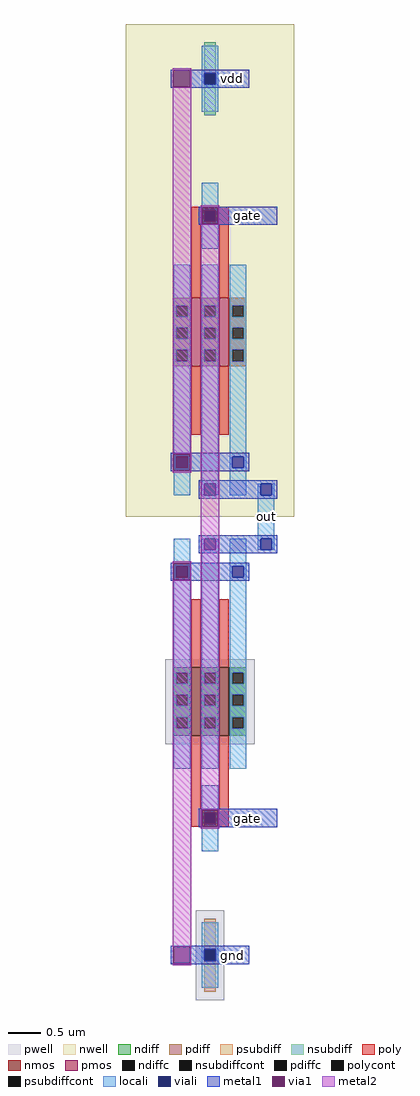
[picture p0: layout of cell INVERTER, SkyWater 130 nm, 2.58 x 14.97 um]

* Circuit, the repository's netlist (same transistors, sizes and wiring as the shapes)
* NGSPICE file created from INVERTER.ext - technology: sky130A

.subckt INVERTER vdd gate vout vss
X0 vout gate vdd vdd sky130_fd_pr__pfet_01v8 ad=2.94e+11p pd=2.66e+06u as=5.565e+11p ps=5.26e+06u w=1.05e+06u l=150000u
X1 vdd gate vout vdd sky130_fd_pr__pfet_01v8 ad=0p pd=0u as=0p ps=0u w=1.05e+06u l=150000u
X2 vout gate vss vss sky130_fd_pr__nfet_01v8 ad=2.94e+11p pd=2.66e+06u as=5.565e+11p ps=5.26e+06u w=1.05e+06u l=150000u
X3 vss gate vout vss sky130_fd_pr__nfet_01v8 ad=0p pd=0u as=0p ps=0u w=1.05e+06u l=150000u
.ends

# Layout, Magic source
magic
tech sky130A
magscale 1 2
<< nwell >>
rect 0 1512 516 3024
<< pwell >>
rect 121 814 395 1076
rect 215 30 301 306
<< nmos >>
rect 200 840 230 1050
rect 286 840 316 1050
<< pmos >>
rect 200 1974 230 2184
rect 286 1974 316 2184
<< ndiff >>
rect 147 1034 200 1050
rect 147 1000 155 1034
rect 189 1000 200 1034
rect 147 966 200 1000
rect 147 932 155 966
rect 189 932 200 966
rect 147 898 200 932
rect 147 864 155 898
rect 189 864 200 898
rect 147 840 200 864
rect 230 1034 286 1050
rect 230 1000 241 1034
rect 275 1000 286 1034
rect 230 966 286 1000
rect 230 932 241 966
rect 275 932 286 966
rect 230 898 286 932
rect 230 864 241 898
rect 275 864 286 898
rect 230 840 286 864
rect 316 1034 369 1050
rect 316 1000 327 1034
rect 361 1000 369 1034
rect 316 966 369 1000
rect 316 932 327 966
rect 361 932 369 966
rect 316 898 369 932
rect 316 864 327 898
rect 361 864 369 898
rect 316 840 369 864
<< pdiff >>
rect 147 2160 200 2184
rect 147 2126 155 2160
rect 189 2126 200 2160
rect 147 2092 200 2126
rect 147 2058 155 2092
rect 189 2058 200 2092
rect 147 2024 200 2058
rect 147 1990 155 2024
rect 189 1990 200 2024
rect 147 1974 200 1990
rect 230 2160 286 2184
rect 230 2126 241 2160
rect 275 2126 286 2160
rect 230 2092 286 2126
rect 230 2058 241 2092
rect 275 2058 286 2092
rect 230 2024 286 2058
rect 230 1990 241 2024
rect 275 1990 286 2024
rect 230 1974 286 1990
rect 316 2160 369 2184
rect 316 2126 327 2160
rect 361 2126 369 2160
rect 316 2092 369 2126
rect 316 2058 327 2092
rect 361 2058 369 2092
rect 316 2024 369 2058
rect 316 1990 327 2024
rect 361 1990 369 2024
rect 316 1974 369 1990
<< ndiffc >>
rect 155 1000 189 1034
rect 155 932 189 966
rect 155 864 189 898
rect 241 1000 275 1034
rect 241 932 275 966
rect 241 864 275 898
rect 327 1000 361 1034
rect 327 932 361 966
rect 327 864 361 898
<< pdiffc >>
rect 155 2126 189 2160
rect 155 2058 189 2092
rect 155 1990 189 2024
rect 241 2126 275 2160
rect 241 2058 275 2092
rect 241 1990 275 2024
rect 327 2126 361 2160
rect 327 2058 361 2092
rect 327 1990 361 2024
<< psubdiff >>
rect 241 185 275 280
rect 241 56 275 151
<< nsubdiff >>
rect 241 2873 275 2968
rect 241 2744 275 2839
<< psubdiffcont >>
rect 241 151 275 185
<< nsubdiffcont >>
rect 241 2839 275 2873
<< poly >>
rect 200 2453 316 2463
rect 200 2419 241 2453
rect 275 2419 316 2453
rect 200 2409 316 2419
rect 200 2184 230 2409
rect 286 2184 316 2409
rect 200 1764 230 1974
rect 286 1764 316 1974
rect 200 1050 230 1260
rect 286 1050 316 1260
rect 200 615 230 840
rect 286 615 316 840
rect 200 605 316 615
rect 200 571 241 605
rect 275 571 316 605
rect 200 561 316 571
<< polycont >>
rect 241 2419 275 2453
rect 241 571 275 605
<< locali >>
rect 233 2873 283 2957
rect 233 2839 241 2873
rect 275 2839 283 2873
rect 233 2755 283 2839
rect 233 2453 283 2537
rect 233 2419 241 2453
rect 275 2419 283 2453
rect 233 2335 283 2419
rect 147 2160 197 2285
rect 147 2126 155 2160
rect 189 2126 197 2160
rect 147 2092 197 2126
rect 147 2058 155 2092
rect 189 2058 197 2092
rect 147 2024 197 2058
rect 147 1990 155 2024
rect 189 1990 197 2024
rect 147 1697 197 1990
rect 147 1663 155 1697
rect 189 1663 197 1697
rect 147 1579 197 1663
rect 233 2160 283 2285
rect 233 2126 241 2160
rect 275 2126 283 2160
rect 233 2092 283 2126
rect 233 2058 241 2092
rect 275 2058 283 2092
rect 233 2024 283 2058
rect 233 1990 241 2024
rect 275 1990 283 2024
rect 233 1613 283 1990
rect 233 1579 241 1613
rect 275 1579 283 1613
rect 319 2160 369 2285
rect 319 2126 327 2160
rect 361 2126 369 2160
rect 319 2092 369 2126
rect 319 2058 327 2092
rect 361 2058 369 2092
rect 319 2024 369 2058
rect 319 1990 327 2024
rect 361 1990 369 2024
rect 319 1697 369 1990
rect 319 1663 327 1697
rect 361 1663 369 1697
rect 319 1579 369 1663
rect 405 1579 413 1613
rect 447 1579 455 1613
rect 405 1445 455 1579
rect 147 1361 197 1445
rect 147 1327 155 1361
rect 189 1327 197 1361
rect 147 1034 197 1327
rect 147 1000 155 1034
rect 189 1000 197 1034
rect 147 966 197 1000
rect 147 932 155 966
rect 189 932 197 966
rect 147 898 197 932
rect 147 864 155 898
rect 189 864 197 898
rect 147 739 197 864
rect 233 1411 241 1445
rect 275 1411 283 1445
rect 233 1034 283 1411
rect 233 1000 241 1034
rect 275 1000 283 1034
rect 233 966 283 1000
rect 233 932 241 966
rect 275 932 283 966
rect 233 898 283 932
rect 233 864 241 898
rect 275 864 283 898
rect 233 739 283 864
rect 319 1361 369 1445
rect 405 1411 413 1445
rect 447 1411 455 1445
rect 319 1327 327 1361
rect 361 1327 369 1361
rect 319 1034 369 1327
rect 319 1000 327 1034
rect 361 1000 369 1034
rect 319 966 369 1000
rect 319 932 327 966
rect 361 932 369 966
rect 319 898 369 932
rect 319 864 327 898
rect 361 864 369 898
rect 319 739 369 864
rect 233 605 283 689
rect 233 571 241 605
rect 275 571 283 605
rect 233 487 283 571
rect 233 185 283 269
rect 233 151 241 185
rect 275 151 283 185
rect 233 67 283 151
<< viali >>
rect 241 2839 275 2873
rect 241 2419 275 2453
rect 155 1663 189 1697
rect 241 1579 275 1613
rect 327 1663 361 1697
rect 413 1579 447 1613
rect 155 1327 189 1361
rect 241 1411 275 1445
rect 413 1411 447 1445
rect 327 1327 361 1361
rect 241 571 275 605
rect 241 151 275 185
<< metal1 >>
rect 138 2882 378 2884
rect 138 2830 146 2882
rect 198 2873 378 2882
rect 198 2839 241 2873
rect 275 2839 378 2873
rect 198 2830 378 2839
rect 138 2828 378 2830
rect 224 2462 464 2464
rect 224 2410 232 2462
rect 284 2410 464 2462
rect 224 2408 464 2410
rect 138 1706 378 1708
rect 138 1654 146 1706
rect 198 1697 378 1706
rect 198 1663 327 1697
rect 361 1663 378 1697
rect 198 1654 378 1663
rect 138 1652 378 1654
rect 224 1613 464 1624
rect 224 1579 241 1613
rect 275 1579 413 1613
rect 447 1579 464 1613
rect 224 1568 464 1579
rect 224 1445 464 1456
rect 224 1411 241 1445
rect 275 1411 413 1445
rect 447 1411 464 1445
rect 224 1400 464 1411
rect 138 1370 378 1372
rect 138 1318 146 1370
rect 198 1361 378 1370
rect 198 1327 327 1361
rect 361 1327 378 1361
rect 198 1318 378 1327
rect 138 1316 378 1318
rect 224 614 464 616
rect 224 562 232 614
rect 284 562 464 614
rect 224 560 464 562
rect 138 194 378 196
rect 138 142 146 194
rect 198 185 378 194
rect 198 151 241 185
rect 275 151 378 185
rect 198 142 378 151
rect 138 140 378 142
<< via1 >>
rect 146 2830 198 2882
rect 232 2453 284 2462
rect 232 2419 241 2453
rect 241 2419 275 2453
rect 275 2419 284 2453
rect 232 2410 284 2419
rect 146 1697 198 1706
rect 146 1663 155 1697
rect 155 1663 189 1697
rect 189 1663 198 1697
rect 146 1654 198 1663
rect 146 1361 198 1370
rect 146 1327 155 1361
rect 155 1327 189 1361
rect 189 1327 198 1361
rect 146 1318 198 1327
rect 232 605 284 614
rect 232 571 241 605
rect 241 571 275 605
rect 275 571 284 605
rect 232 562 284 571
rect 146 142 198 194
<< metal2 >>
rect 144 2882 200 2888
rect 144 2830 146 2882
rect 198 2830 200 2882
rect 144 1706 200 2830
rect 144 1654 146 1706
rect 198 1654 200 1706
rect 144 1648 200 1654
rect 230 2462 286 2468
rect 230 2410 232 2462
rect 284 2410 286 2462
rect 144 1370 200 1376
rect 144 1318 146 1370
rect 198 1318 200 1370
rect 144 194 200 1318
rect 230 614 286 2410
rect 230 562 232 614
rect 284 562 286 614
rect 230 556 286 562
rect 144 142 146 194
rect 198 142 200 194
rect 144 136 200 142
<< labels >>
rlabel metal1 284 2408 464 2464 1 gate
rlabel metal1 284 560 464 616 1 gate
rlabel metal1 275 2828 378 2884 1 vdd
rlabel metal1 275 140 378 196 1 gnd
rlabel locali 405 1445 455 1579 1 out
<< end >>
